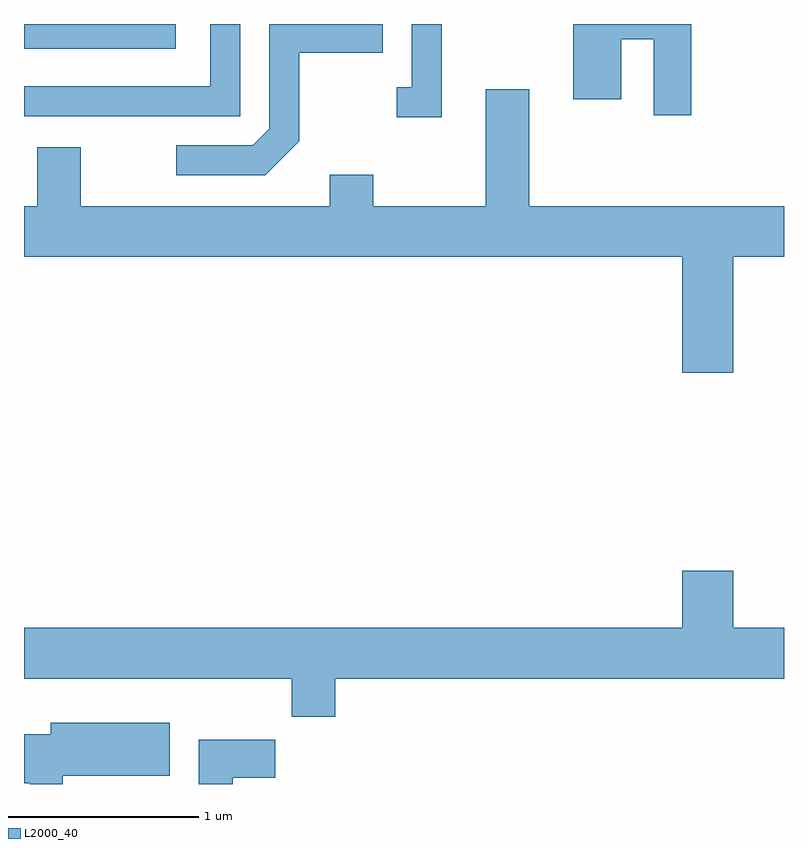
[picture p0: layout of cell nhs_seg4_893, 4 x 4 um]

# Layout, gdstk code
import gdstk
lib = gdstk.Library(unit=1e-6, precision=1e-09)
def R(c, l, rs):  # rectangles x0, y0, x1, y1
    for r in rs: c.add(gdstk.rectangle(r[:2], r[2:], *l))
def P(c, l, *ps):  # polygons
    for p in ps: c.add(gdstk.Polygon(p, *l))
L2000_40 = (2000, 40)

nhs_seg4_893 = lib.new_cell('nhs_seg4_893')
R(nhs_seg4_893, L2000_40, [(211.611,1275.851,212.409,1275.982)])
P(nhs_seg4_893, L2000_40, [(212.749,1275.982),(212.591,1275.982),(212.591,1275.654),(211.611,1275.654),(211.611,1275.496),(212.749,1275.496)],
  [(213.059,1275.364),(213.059,1275.831),(213.499,1275.831),(213.499,1275.982),(212.901,1275.982),(212.901,1275.432),(212.814,1275.344),(212.413,1275.344),(212.413,1275.186),(212.882,1275.186)],
  [(213.809,1275.982),(213.651,1275.982),(213.651,1275.649),(213.573,1275.649),(213.573,1275.491),(213.809,1275.491)],
  [(215.124,1275.982),(214.501,1275.982),(214.501,1275.586),(214.754,1275.586),(214.754,1275.901),(214.926,1275.901),(214.926,1275.501),(215.124,1275.501)],
  [(215.344,1274.756),(215.611,1274.756),(215.611,1275.024),(214.269,1275.024),(214.269,1275.639),(214.041,1275.639),(214.041,1275.024),(213.449,1275.024),(213.449,1275.189),(213.221,1275.189),(213.221,1275.024),(211.909,1275.024),(211.909,1275.334),(211.681,1275.334),(211.681,1275.024),(211.611,1275.024),(211.611,1274.756),(215.076,1274.756),(215.076,1274.146),(215.344,1274.146)],
  [(213.249,1272.536),(215.611,1272.536),(215.611,1272.804),(215.344,1272.804),(215.344,1273.104),(215.076,1273.104),(215.076,1272.804),(211.611,1272.804),(211.611,1272.536),(213.021,1272.536),(213.021,1272.336),(213.249,1272.336)],
  [(211.814,1272.026),(212.379,1272.026),(212.379,1272.304),(211.751,1272.304),(211.751,1272.244),(211.611,1272.244),(211.611,1271.986),(211.641,1271.986),(211.641,1271.982),(211.814,1271.982)],
  [(212.709,1272.016),(212.934,1272.016),(212.934,1272.214),(212.531,1272.214),(212.531,1271.982),(212.709,1271.982)])

lib.write_gds('nhs_seg4_893.gds')
